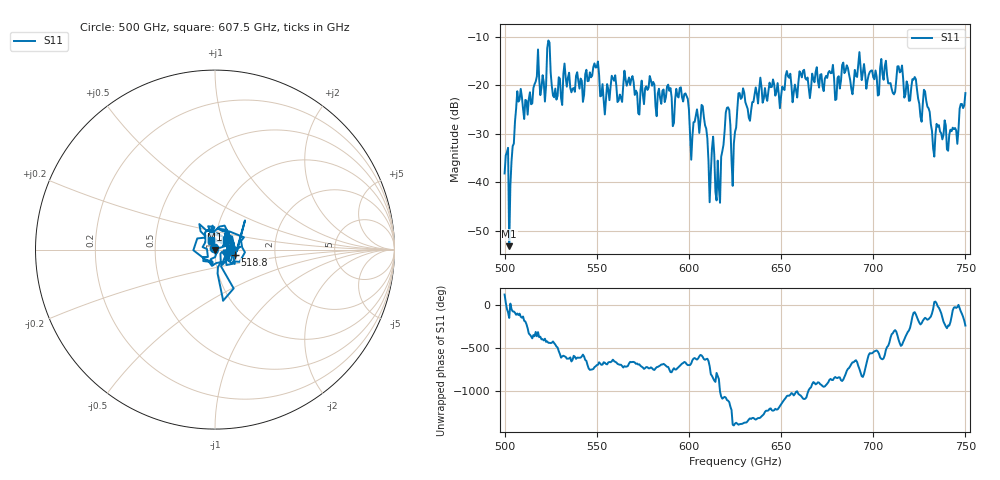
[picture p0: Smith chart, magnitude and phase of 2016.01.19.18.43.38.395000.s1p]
!Created with skrf (http://scikit-rf.org).
# GHz S RI R 50.0
!freq ReS11 ImS11
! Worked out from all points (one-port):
!   401 points, 500 GHz to 750 GHz, reference 50 ohm
!   lowest |S11| = -53.2 dB at 502.5 GHz (marker M1), VSWR 1.00, Z = 49.8 - j0.108 ohm
!   |S11| at or under -10 dB: start of sweep to end of sweep
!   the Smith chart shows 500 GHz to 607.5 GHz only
!   S11 on the Smith chart (normalised r, x): 500 GHz: 0.99, +0.02; 518.8 GHz: 1.25, -0.08; 607.5 GHz: 0.95, +0.11
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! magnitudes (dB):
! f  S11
! 500 GHz  -38.2
! 502.5 GHz  -53.2
! 507.5 GHz  -23.4
! 518.8 GHz  -18.7
! 524.4 GHz  -11.2
! 526.9 GHz  -22.5
! 531.2 GHz  -24.1
! 549.4 GHz  -16.4
! 553.1 GHz  -19.8
! 562.5 GHz  -21.9
! 593.8 GHz  -22.2
! 598.8 GHz  -22.2
! 601.9 GHz  -30.7
! 607.5 GHz  -24.3
! 615.6 GHz  -35.5
! 620.6 GHz  -24.7
! 625 GHz  -29.6
! 628.1 GHz  -22.8
! 656.2 GHz  -23.5
! 687.5 GHz  -19.0
! 705.6 GHz  -18.9
! 710.6 GHz  -21.6
! 714.4 GHz  -17.4
! 718.8 GHz  -20.0
! 728.8 GHz  -23.2
! 732.5 GHz  -33.0
! 745 GHz  -29.3
! 750 GHz  -21.6
